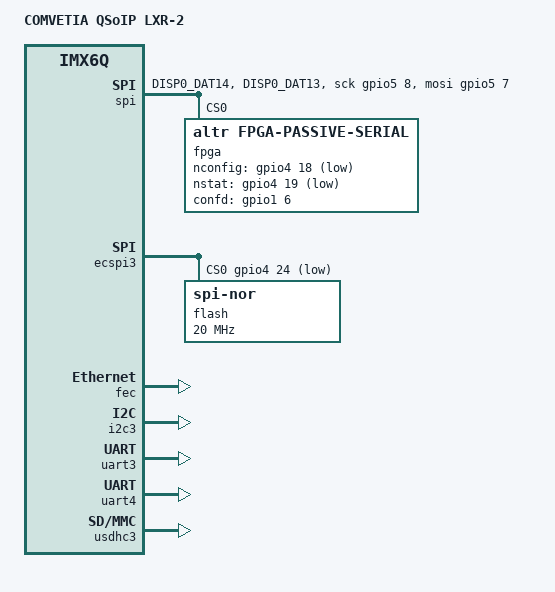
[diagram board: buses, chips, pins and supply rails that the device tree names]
// SPDX-License-Identifier: (GPL-2.0+ OR MIT)
//
// Copyright 2024 Comvetia AG

/dts-v1/;
#include "imx6q-phytec-pfla02.dtsi"

/ {
	model = "COMVETIA QSoIP LXR-2";
	compatible = "comvetia,imx6q-lxr", "phytec,imx6q-pfla02", "fsl,imx6q";

	chosen {
		stdout-path = &uart4;
	};

	spi {
		compatible = "spi-gpio";
		pinctrl-names = "default";
		pinctrl-0 = <&pinctrl_spi_gpio>;
		sck-gpios = <&gpio5 8 GPIO_ACTIVE_HIGH>;
		mosi-gpios = <&gpio5 7 GPIO_ACTIVE_HIGH>;
		num-chipselects = <0>;
		#address-cells = <1>;
		#size-cells = <0>;

		fpga@0 {
			compatible = "altr,fpga-passive-serial";
			reg = <0>;
			pinctrl-names = "default";
			pinctrl-0 = <&pinctrl_fpga>;
			nconfig-gpios = <&gpio4 18 GPIO_ACTIVE_LOW>;
			nstat-gpios = <&gpio4 19 GPIO_ACTIVE_LOW>;
			confd-gpios = <&gpio1 6 GPIO_ACTIVE_HIGH>;
		};
	};
};

&ecspi3 {
	pinctrl-names = "default";
	pinctrl-0 = <&pinctrl_ecspi3>;
	cs-gpios = <&gpio4 24 GPIO_ACTIVE_LOW>;
	status = "okay";

	flash@0 {
		compatible = "jedec,spi-nor";
		reg = <0>;
		spi-max-frequency = <20000000>;
	};
};

&fec {
	status = "okay";
};

&i2c3 {
	status = "okay";
};

&uart3 {
	status = "okay";
};

&uart4 {
	status = "okay";
};

&usdhc3 {
	no-1-8-v;
	status = "okay";
};

&iomuxc {
	pinctrl_fpga: fpgagrp {
		fsl,pins = <
			MX6QDL_PAD_GPIO_6__GPIO1_IO06       0x1b0b0
			MX6QDL_PAD_DI0_PIN2__GPIO4_IO18     0x1b0b0
			MX6QDL_PAD_DI0_PIN3__GPIO4_IO19     0x1b0b0
		>;
	};

	pinctrl_spi_gpio: spigpiogrp {
		fsl,pins = <
			MX6QDL_PAD_DISP0_DAT14__GPIO5_IO08  0x1b0b0
			MX6QDL_PAD_DISP0_DAT13__GPIO5_IO07  0x1b0b0
		>;
	};
};
